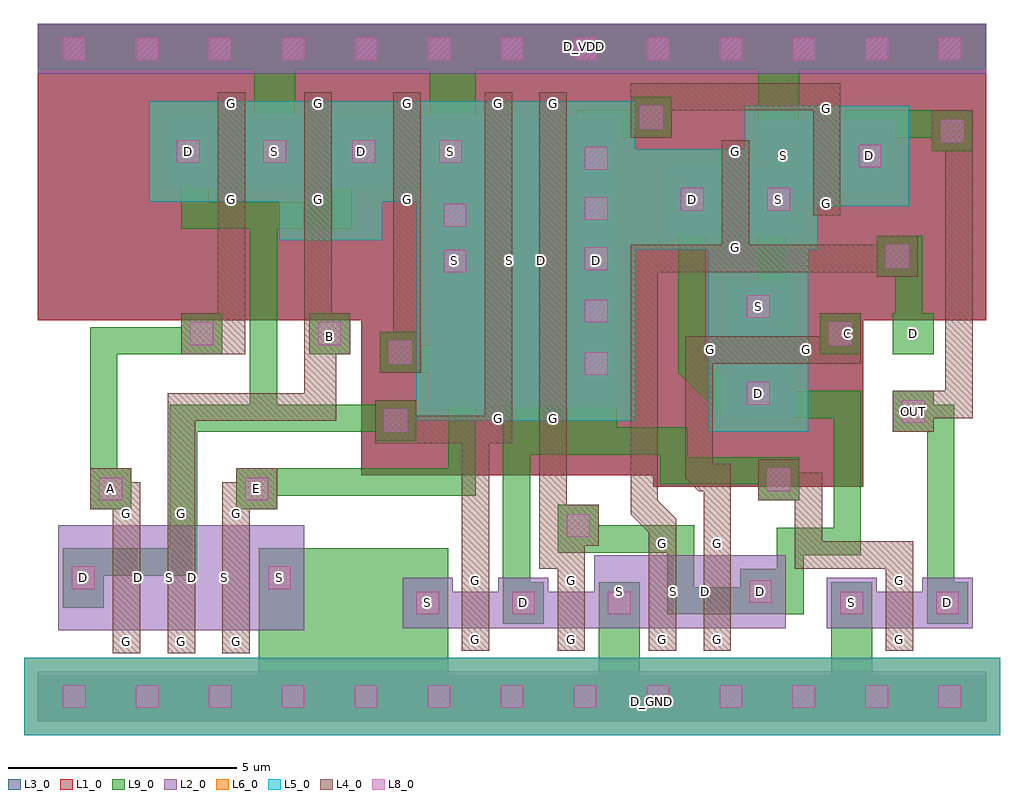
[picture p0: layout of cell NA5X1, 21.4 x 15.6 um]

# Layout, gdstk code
import gdstk
lib = gdstk.Library(unit=1e-6, precision=1e-09)
def R(c, l, rs):  # rectangles x0, y0, x1, y1
    for r in rs: c.add(gdstk.rectangle(r[:2], r[2:], *l))
def A(c, l, x, y, w, h, nx, ny, dx, dy):  # array of equal rectangles
    R(c, l, [(x+i*dx, y+j*dy, x+i*dx+w, y+j*dy+h) for i in range(nx) for j in range(ny)])
def P(c, l, *ps):  # polygons
    for p in ps: c.add(gdstk.Polygon(p, *l))
L1_0 = (1, 0)
L2_0 = (2, 0)
L3_0 = (3, 0)
L4_0 = (4, 0)
L5_0 = (5, 0)
L6_0 = (6, 0)
L8_0 = (8, 0)
L9_0 = (9, 0)

na5x1 = lib.new_cell('NA5X1')
A(na5x1, L1_0, -3.35, 8.8, 1.6, 6.5, 13, 1, 1.6, 0)
R(na5x1, L1_0, [(10.15,5.15,14.75,11.15), (3.75,5.4,9.75,14.8), (4.95,5.4,10.95,14.8), (8.95,9.15,14.95,13.75), (10.95,10.1,16.95,14.7), (-2.1,10.2,3.9,14.8), (-0.2,10.2,5.8,14.8), (1.75,10.2,7.75,14.8)])
A(na5x1, L2_0, -3.35, 0, 1.6, 1.1, 13, 2, 1.6, 14.2)
A(na5x1, L2_0, -1.8, 2, 0.8, 2.3, 3, 1, 1.2, 0)
R(na5x1, L2_0, [(-2.9,2,-1.8,4.3), (-1.7,2,-0.6,4.3), (-1,2,0.1,4.3), (-0.5,2,0.6,4.3), (0.2,2,1.3,4.3), (1.4,2,2.5,4.3), (4.65,2.05,5.75,3.15), (5.75,2.05,6.75,2.85), (6.75,2.05,7.85,3.15), (6.75,2.05,7.85,3.15), (7.85,2.05,8.85,2.85), (8.85,2.05,9.95,3.65), (8.85,2.05,9.95,3.15), (9.95,2.05,10.75,3.65), (10.05,2.05,11.15,3.65), (10.75,2.05,11.85,3.65), (11.15,2.05,11.95,3.65), (11.95,2.05,13.05,3.65), (13.95,2.05,15.05,3.15), (15.05,2.05,16.05,2.85), (16.05,2.05,17.15,3.15), (11.65,6.65,13.25,7.75), (5.25,6.9,6.35,13.3), (6.35,6.9,7.15,13.3), (6.45,6.9,7.55,13.3), (7.15,6.9,8.25,13.3), (7.55,6.9,8.35,13.3), (8.35,6.9,9.45,13.3), (11.65,7.75,13.25,8.55), (11.65,8.55,13.25,9.65), (5.25,9.55,6.35,11.65), (10.45,10.65,11.55,12.25), (11.55,10.65,12.35,12.25), (12.35,10.65,13.45,12.25), (12.45,11.6,13.55,13.2), (13.55,11.6,14.35,13.2), (14.35,11.6,15.45,13.2), (-0.6,11.7,0.5,13.3), (0.5,11.7,1.3,13.3), (1.3,11.7,2.4,13.3), (1.3,11.7,2.4,13.3), (2.4,11.7,3.2,13.3), (3.2,11.7,4.3,13.3), (3.25,11.7,4.35,13.3), (4.35,11.7,5.15,13.3), (5.15,11.7,6.25,13.3)])
A(na5x1, L3_0, -3.35, 8.8, 1.6, 6.5, 13, 1, 1.6, 0)
R(na5x1, L3_0, [(10.15,5.15,14.75,11.15), (3.75,5.4,9.75,14.8), (4.95,5.4,10.95,14.8), (8.95,9.15,14.95,13.75), (10.95,10.1,16.95,14.7), (-2.1,10.2,3.9,14.8), (-0.2,10.2,5.8,14.8), (1.75,10.2,7.75,14.8)])
A(na5x1, L4_0, -1.7, 1.5, 0.6, 0.5, 3, 2, 1.2, 2.8)
A(na5x1, L4_0, -1.7, 1.5, 0.6, 3.3, 3, 1, 1.2, 0)
R(na5x1, L4_0, [(5.95,1.55,6.55,2.05), (5.95,1.55,6.55,3.35), (8.05,1.55,8.65,2.05), (8.05,1.55,8.65,3.35), (10.05,1.55,10.65,2.05), (10.05,1.55,10.65,4.15), (11.25,1.55,11.85,2.05), (11.25,1.55,11.85,4.15), (15.25,1.55,15.85,2.05), (15.25,1.55,15.85,3.35), (5.95,2.85,6.55,3.35), (8.05,2.85,8.65,3.35), (15.25,2.85,15.85,3.35), (10.05,3.65,10.65,4.15), (11.25,3.65,11.85,4.15), (8.05,3.85,8.95,4.75), (-1.7,4,-1.1,5.25), (0.7,4,1.3,5.25), (-2.2,4.65,-1.3,5.55), (1,4.65,1.9,5.55), (12.45,4.85,13.35,5.75), (4.05,6.1,6.55,6.7), (4.05,6.15,4.95,7.05), (15.4,6.35,16.3,7.25), (6.45,6.4,7.05,13.8), (6.45,6.4,7.05,6.9), (7.65,6.4,8.25,13.8), (7.65,6.4,8.25,6.9), (2.5,7.2,3.1,11.2), (4.15,7.65,5.05,8.55), (11.15,7.85,13.75,8.45), (11.15,7.85,11.65,8.45), (13,7.85,14.7,8.45), (13.25,7.85,13.75,8.45), (-0.2,8.05,0.7,8.95), (0.6,8.05,1.2,11.2), (2.6,8.05,3.5,8.95), (13.8,8.05,14.7,8.95), (4.45,8.1,5.05,11.4), (15.05,9.75,15.95,10.65), (11.6,9.85,15.95,10.45), (11.65,10.15,12.25,10.65), (11.65,10.15,12.25,12.75), (13.65,11.1,14.25,11.6), (13.65,11.1,14.25,13.7), (0.6,11.2,1.2,11.7), (0.6,11.2,1.2,13.8), (2.5,11.2,3.1,11.7), (2.5,11.2,3.1,13.8), (4.45,11.2,5.05,11.7), (4.45,11.2,5.05,13.8), (11.65,12.25,12.25,12.75), (16.25,12.5,17.15,13.4), (9.65,12.8,10.55,13.7), (9.65,12.9,10.25,14), (13.65,13.2,14.25,13.7), (0.6,13.3,1.2,13.8), (2.5,13.3,3.1,13.8), (4.45,13.3,5.05,13.8), (6.45,13.3,7.05,13.8), (7.65,13.3,8.25,13.8)])
P(na5x1, L4_0, [(7.65,3.35),(8.05,3.35),(8.05,1.55),(8.65,1.55),(8.65,3.95),(8.25,3.95),(8.25,13.8),(7.65,13.8)],
  [(9.65,4.55),(10.05,4.15),(10.05,1.55),(10.65,1.55),(10.65,4.45),(10.25,4.85),(10.25,9.85),(12.25,9.85),(12.25,12.7),(11.65,12.7),(11.65,10.45),(9.65,10.45)],
  [(15.4,6.65),(17.15,6.65),(17.15,13.4),(16.55,13.4),(16.55,7.25),(15.4,7.25)],
  [(5.95,1.55),(6.55,1.55),(6.55,6.1),(7.05,6.1),(7.05,13.8),(6.45,13.8),(6.45,6.7),(5.95,6.7)],
  [(12.45,4.85),(13.25,4.85),(13.25,3.35),(15.25,3.35),(15.25,1.55),(15.85,1.55),(15.85,3.95),(13.85,3.95),(13.85,5.45),(12.45,5.45)],
  [(-0.5,4.8),(0.1,4.8),(0.1,6.6),(3.2,6.6),(3.2,8.05),(2.6,8.05),(2.6,7.2),(-0.5,7.2)],
  [(10.85,5.35),(11.15,5.05),(11.25,5.05),(11.25,1.55),(11.85,1.55),(11.85,5.65),(11.45,5.65),(11.45,8.45),(10.85,8.45)],
  [(9.65,13.4),(13.65,13.4),(13.65,12.4),(14.25,12.4),(14.25,14),(9.65,14)])
A(na5x1, L5_0, 1.45, -0.3, 1.6, 1.7, 9, 1, 1.6, 0)
R(na5x1, L5_0, [(-3.65,-0.3,-1.75,1.4), (-1.75,-0.3,-0.15,1.4), (-0.45,-0.3,1.45,1.4), (15.85,-0.3,17.75,1.4), (11.35,6.35,13.55,9.95), (4.95,6.6,8.55,13.6), (6.15,6.6,9.75,13.6), (11.35,9.65,13.55,10.6), (9.55,10.35,10.4,12.55), (10.15,10.35,13.75,12.55), (1.95,10.55,4.2,11.7), (12.15,11.3,15.75,13.5), (-0.9,11.4,2.7,13.6), (1,11.4,4.6,13.6), (2.95,11.4,6.55,13.6)])
A(na5x1, L6_0, 1.45, -0.3, 1.6, 1.7, 9, 1, 1.6, 0)
R(na5x1, L6_0, [(-3.65,-0.3,-1.75,1.4), (-1.75,-0.3,-0.15,1.4), (-0.45,-0.3,1.45,1.4), (15.85,-0.3,17.75,1.4), (11.35,6.35,13.55,9.95), (4.95,6.6,8.55,13.6), (6.15,6.6,9.75,13.6), (11.35,9.65,13.55,10.6), (9.55,10.35,10.4,12.55), (10.15,10.35,13.75,12.55), (1.95,10.55,4.2,11.7), (12.15,11.3,15.75,13.5), (-0.9,11.4,2.7,13.6), (1,11.4,4.6,13.6), (2.95,11.4,6.55,13.6)])
A(na5x1, L8_0, -2.8, 0.3, 0.5, 0.5, 13, 2, 1.6, 14.2)
A(na5x1, L8_0, 8.65, 7.6, 0.5, 0.5, 1, 3, 0, 1.15)
R(na5x1, L8_0, [(4.95,2.35,5.45,2.85), (7.05,2.35,7.55,2.85), (7.05,2.35,7.55,2.85), (9.15,2.35,9.65,2.85), (14.25,2.35,14.75,2.85), (16.35,2.35,16.85,2.85), (12.25,2.6,12.75,3.1), (-2.6,2.9,-2.1,3.4), (1.7,2.9,2.2,3.4), (8.25,4.05,8.75,4.55), (-2,4.85,-1.5,5.35), (1.2,4.85,1.7,5.35), (12.65,5.05,13.15,5.55), (4.25,6.35,4.75,6.85), (15.6,6.55,16.1,7.05), (12.2,6.95,12.7,7.45), (4.35,7.85,4.85,8.35), (0,8.25,0.5,8.75), (2.8,8.25,3.3,8.75), (14,8.25,14.5,8.75), (12.2,8.85,12.7,9.35), (5.55,9.85,6.05,10.35), (15.25,9.95,15.75,10.45), (5.55,10.85,6.05,11.35), (8.65,11,9.15,11.5), (10.75,11.2,11.25,11.7), (12.65,11.2,13.15,11.7), (8.65,12.1,9.15,12.6), (14.65,12.15,15.15,12.65), (-0.3,12.25,0.2,12.75), (1.6,12.25,2.1,12.75), (1.6,12.25,2.1,12.75), (3.55,12.25,4.05,12.75), (5.45,12.25,5.95,12.75), (16.45,12.7,16.95,13.2), (9.85,13,10.35,13.5)])
A(na5x1, L9_0, -3.35, 0, 1.6, 1, 13, 2, 1.6, 14.3)
R(na5x1, L9_0, [(1.5,0,5.65,3.8), (0.35,0.05,17.25,0.95), (8.95,0.1,9.85,3.05), (9.8,0.15,10.4,0.75), (4.75,2.15,5.65,3.05), (6.85,2.15,7.75,3.05), (6.85,2.15,7.75,3.05), (8.95,2.15,9.85,3.05), (14.05,2.15,14.95,3.05), (16.15,2.15,17.05,3.05), (12.05,2.35,12.95,3.35), (-2.8,2.5,-1.9,3.8), (1.5,2.5,2.4,3.8), (8.05,3.85,8.95,4.75), (-2.2,4.65,-1.3,5.55), (-2.2,4.65,-1.6,8.65), (1,4.65,1.9,5.55), (-2.05,4.8,-1.45,5.4), (1.15,4.8,1.75,5.4), (12.45,4.85,13.35,5.75), (4.05,6.15,4.95,7.05), (1.3,6.35,1.9,11.4), (15.4,6.35,16.3,7.25), (15.55,6.5,16.15,7.1), (8.45,6.65,9.35,7.55), (11.95,6.75,12.95,7.65), (11.4,7.15,12.1,7.65), (8.45,7.4,9.35,12.8), (4.15,7.65,5.05,8.55), (-2.2,8.05,0.7,8.65), (-0.2,8.05,0.7,8.95), (2.6,8.05,3.5,8.95), (2.6,8.05,3.5,8.95), (13.8,8.05,14.7,8.95), (15.4,8.05,16.3,8.95), (15.45,8.05,16.05,10.65), (10.7,8.1,11.3,11.9), (14.1,8.2,14.7,8.8), (15.55,8.2,16.15,8.8), (11.95,8.65,12.95,9.55), (5.35,9.65,6.25,11.55), (15.05,9.75,15.95,10.65), (10.55,10.95,11.45,11.95), (12.45,10.95,13.35,11.95), (5.25,11.55,6.25,14.35), (14.45,11.9,15.35,12.9), (-0.5,12,0.4,13), (1.4,12,2.3,13), (1.4,12,2.3,13), (3.35,12,4.25,13), (5.25,12,6.15,13), (16.25,12.5,17.15,13.4), (9.65,12.8,10.55,13.7), (8.35,14.5,8.95,15.1)])
P(na5x1, L9_0, [(-0.2,10.8),(3.55,10.8),(3.55,12),(3.95,12),(3.95,12.6),(2.95,12.6),(2.95,11.4),(0.4,11.4),(0.4,12.6),(-0.2,12.6)],
  [(15.4,6.35),(16.15,6.35),(16.15,2.15),(16.75,2.15),(16.75,6.95),(15.4,6.95)],
  [(6.85,2.15),(7.45,2.15),(7.45,6.35),(9.35,6.35),(9.35,12.7),(8.75,12.7),(8.75,6.95),(6.85,6.95)],
  [(14.35,11.95),(14.95,11.95),(14.95,12.8),(17.15,12.8),(17.15,13.4),(14.35,13.4)],
  [(12.35,6.65),(14.1,6.65),(14.1,4.25),(12.85,4.25),(12.85,2.35),(13.45,2.35),(13.45,3.65),(14.7,3.65),(14.7,7.25),(12.95,7.25),(12.95,7.35),(12.35,7.35)],
  [(-2.1,3.2),(0.15,3.2),(0.15,6.35),(4.95,6.35),(4.95,6.95),(-0.45,6.95),(-0.45,3.8),(-2.1,3.8)],
  [(1.3,4.95),(6.25,4.95),(6.25,8.25),(4.45,8.25),(4.45,7.65),(5.65,7.65),(5.65,5.55),(1.3,5.55)],
  [(0.55,14.3),(1.4,14.3),(1.4,12.1),(2.3,12.1),(2.3,15.2),(0.55,15.2)],
  [(11.75,14.3),(12.45,14.3),(12.45,11.05),(13.35,11.05),(13.35,15.2),(11.75,15.2)],
  [(12.35,8.95),(13.05,8.95),(13.05,11.55),(12.45,11.55),(12.45,9.55),(12.35,9.55)],
  [(7,5.85),(10.3,5.85),(10.3,5.2),(13.35,5.2),(13.35,5.8),(10.9,5.8),(10.9,6.45),(7,6.45)],
  [(10.7,7.65),(11.65,6.7),(12.95,6.7),(12.95,7.3),(11.95,7.3),(11.3,7.95),(11.3,8.75),(10.7,8.75)],
  [(8.45,12.45),(9.05,12.45),(9.05,12.8),(10.55,12.8),(10.55,13.4),(8.45,13.4)],
  [(8.05,3.7),(10.45,3.7),(10.45,2.35),(12.95,2.35),(12.95,2.95),(11.05,2.95),(11.05,4.3),(8.05,4.3)],
  [(13.35,0.1),(14.95,0.1),(14.95,3.05),(14.05,3.05),(14.05,1),(13.35,1)])
na5x1.add(gdstk.Label('G', (6.75,6.652), layer=4, texttype=0))
na5x1.add(gdstk.Label('G', (6.75,13.552), layer=4, texttype=0))
na5x1.add(gdstk.Label('S', (5.799,10.101), layer=2, texttype=0))
na5x1.add(gdstk.Label('D', (7.699,10.101), layer=2, texttype=0))
na5x1.add(gdstk.Label('G', (13.498,8.15), layer=4, texttype=0))
na5x1.add(gdstk.Label('G', (11.398,8.15), layer=4, texttype=0))
na5x1.add(gdstk.Label('S', (12.449,9.101), layer=9, texttype=0))
na5x1.add(gdstk.Label('D', (12.449,7.201), layer=9, texttype=0))
na5x1.add(gdstk.Label('G', (11.95,10.402), layer=4, texttype=0))
na5x1.add(gdstk.Label('G', (11.95,12.502), layer=4, texttype=0))
na5x1.add(gdstk.Label('S', (12.901,11.451), layer=9, texttype=0))
na5x1.add(gdstk.Label('D', (11.001,11.451), layer=9, texttype=0))
na5x1.add(gdstk.Label('G', (13.95,11.352), layer=4, texttype=0))
na5x1.add(gdstk.Label('G', (13.95,13.452), layer=4, texttype=0))
na5x1.add(gdstk.Label('S', (12.999,12.401), layer=2, texttype=0))
na5x1.add(gdstk.Label('D', (14.899,12.401), layer=9, texttype=0))
na5x1.add(gdstk.Label('G', (7.95,6.652), layer=4, texttype=0))
na5x1.add(gdstk.Label('G', (7.95,13.552), layer=4, texttype=0))
na5x1.add(gdstk.Label('S', (6.999,10.101), layer=2, texttype=0))
na5x1.add(gdstk.Label('D', (8.899,10.101), layer=9, texttype=0))
na5x1.add(gdstk.Label('G', (11.55,1.802), layer=4, texttype=0))
na5x1.add(gdstk.Label('G', (11.55,3.902), layer=4, texttype=0))
na5x1.add(gdstk.Label('S', (10.599,2.851), layer=2, texttype=0))
na5x1.add(gdstk.Label('D', (12.499,2.851), layer=9, texttype=0))
na5x1.add(gdstk.Label('G', (15.55,1.802), layer=4, texttype=0))
na5x1.add(gdstk.Label('G', (15.55,3.102), layer=4, texttype=0))
na5x1.add(gdstk.Label('S', (14.499,2.601), layer=9, texttype=0))
na5x1.add(gdstk.Label('D', (16.599,2.601), layer=9, texttype=0))
na5x1.add(gdstk.Label('D', (11.299,2.851), layer=2, texttype=0))
na5x1.add(gdstk.Label('G', (10.35,1.802), layer=4, texttype=0))
na5x1.add(gdstk.Label('G', (10.35,3.902), layer=4, texttype=0))
na5x1.add(gdstk.Label('S', (9.399,2.851), layer=2, texttype=0))
na5x1.add(gdstk.Label('G', (6.25,1.802), layer=4, texttype=0))
na5x1.add(gdstk.Label('G', (6.25,3.102), layer=4, texttype=0))
na5x1.add(gdstk.Label('S', (5.199,2.601), layer=9, texttype=0))
na5x1.add(gdstk.Label('D', (7.299,2.601), layer=9, texttype=0))
na5x1.add(gdstk.Label('G', (8.35,1.802), layer=4, texttype=0))
na5x1.add(gdstk.Label('G', (8.35,3.102), layer=4, texttype=0))
na5x1.add(gdstk.Label('S', (9.401,2.601), layer=9, texttype=0))
na5x1.add(gdstk.Label('D', (7.301,2.601), layer=9, texttype=0))
na5x1.add(gdstk.Label('D', (0.051,3.151), layer=2, texttype=0))
na5x1.add(gdstk.Label('G', (1,1.752), layer=4, texttype=0))
na5x1.add(gdstk.Label('G', (1,4.552), layer=4, texttype=0))
na5x1.add(gdstk.Label('S', (1.951,3.151), layer=9, texttype=0))
na5x1.add(gdstk.Label('D', (-1.149,3.151), layer=2, texttype=0))
na5x1.add(gdstk.Label('G', (-0.2,1.752), layer=4, texttype=0))
na5x1.add(gdstk.Label('G', (-0.2,4.552), layer=4, texttype=0))
na5x1.add(gdstk.Label('S', (0.751,3.151), layer=2, texttype=0))
na5x1.add(gdstk.Label('G', (-1.4,1.752), layer=4, texttype=0))
na5x1.add(gdstk.Label('G', (-1.4,4.552), layer=4, texttype=0))
na5x1.add(gdstk.Label('S', (-0.449,3.151), layer=2, texttype=0))
na5x1.add(gdstk.Label('D', (-2.349,3.151), layer=9, texttype=0))
na5x1.add(gdstk.Label('G', (2.8,11.452), layer=4, texttype=0))
na5x1.add(gdstk.Label('G', (2.8,13.552), layer=4, texttype=0))
na5x1.add(gdstk.Label('S', (1.849,12.501), layer=9, texttype=0))
na5x1.add(gdstk.Label('D', (3.749,12.501), layer=2, texttype=0))
na5x1.add(gdstk.Label('G', (0.9,11.452), layer=4, texttype=0))
na5x1.add(gdstk.Label('G', (0.9,13.552), layer=4, texttype=0))
na5x1.add(gdstk.Label('S', (1.851,12.501), layer=9, texttype=0))
na5x1.add(gdstk.Label('D', (-0.049,12.501), layer=9, texttype=0))
na5x1.add(gdstk.Label('G', (4.75,11.452), layer=4, texttype=0))
na5x1.add(gdstk.Label('G', (4.75,13.552), layer=4, texttype=0))
na5x1.add(gdstk.Label('S', (5.701,12.501), layer=9, texttype=0))
na5x1.add(gdstk.Label('D', (3.801,12.501), layer=9, texttype=0))
na5x1.add(gdstk.Label('D_GND', (10.1,0.45), layer=50, texttype=0))
na5x1.add(gdstk.Label('D_VDD', (8.65,14.8), layer=50, texttype=0))
na5x1.add(gdstk.Label('A', (-1.75,5.1), layer=50, texttype=0))
na5x1.add(gdstk.Label('E', (1.45,5.1), layer=50, texttype=0))
na5x1.add(gdstk.Label('C', (14.4,8.5), layer=50, texttype=0))
na5x1.add(gdstk.Label('D', (15.85,8.5), layer=50, texttype=0))
na5x1.add(gdstk.Label('OUT', (15.85,6.8), layer=50, texttype=0))
na5x1.add(gdstk.Label('B', (3.05,8.45), layer=50, texttype=0))

lib.write_gds('NA5X1.gds')
